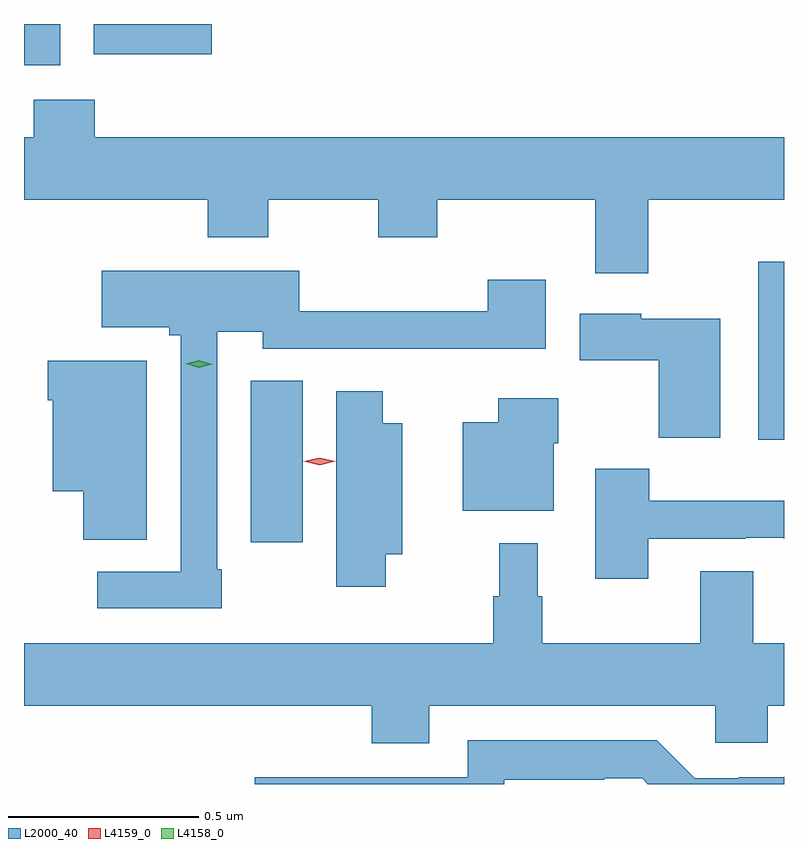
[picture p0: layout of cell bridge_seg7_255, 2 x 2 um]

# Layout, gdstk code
import gdstk
lib = gdstk.Library(unit=1e-6, precision=1e-09)
def R(c, l, rs):  # rectangles x0, y0, x1, y1
    for r in rs: c.add(gdstk.rectangle(r[:2], r[2:], *l))
def P(c, l, *ps):  # polygons
    for p in ps: c.add(gdstk.Polygon(p, *l))
L2000_40 = (2000, 40)
L4158_0 = (4158, 0)
L4159_0 = (4159, 0)

bridge_seg7_255 = lib.new_cell('bridge_seg7_255')
R(bridge_seg7_255, L2000_40, [(213.755,1079.634,213.892,1080.059), (215.09,1079.904,215.158,1080.373), (213.158,1080.89,213.253,1080.998), (213.342,1080.919,213.652,1080.998)])
P(bridge_seg7_255, L2000_40, [(213.641,1080.437),(213.801,1080.437),(213.801,1080.536),(214.09,1080.536),(214.09,1080.437),(214.245,1080.437),(214.245,1080.536),(214.661,1080.536),(214.661,1080.342),(214.801,1080.342),(214.801,1080.536),(215.158,1080.536),(215.158,1080.7),(213.344,1080.7),(213.344,1080.799),(213.184,1080.799),(213.184,1080.7),(213.158,1080.7),(213.158,1080.536),(213.641,1080.536)],
  [(213.679,1079.563),(213.666,1079.563),(213.666,1080.188),(213.786,1080.188),(213.786,1080.144),(214.295,1080.144),(214.295,1080.143),(214.531,1080.143),(214.531,1080.325),(214.379,1080.325),(214.379,1080.242),(213.882,1080.242),(213.882,1080.349),(213.363,1080.349),(213.363,1080.2),(213.54,1080.2),(213.54,1080.179),(213.57,1080.179),(213.57,1079.556),(213.351,1079.556),(213.351,1079.46),(213.679,1079.46)],
  [(214.99,1080.223),(214.782,1080.223),(214.782,1080.235),(214.62,1080.235),(214.62,1080.113),(214.828,1080.113),(214.828,1079.909),(214.99,1079.909)],
  [(213.481,1080.112),(213.221,1080.112),(213.221,1080.008),(213.233,1080.008),(213.233,1079.768),(213.314,1079.768),(213.314,1079.641),(213.481,1079.641)],
  [(214.11,1079.603),(214.153,1079.603),(214.153,1079.947),(214.102,1079.947),(214.102,1080.031),(213.98,1080.031),(213.98,1079.517),(214.11,1079.517)],
  [(214.552,1079.895),(214.564,1079.895),(214.564,1080.013),(214.406,1080.013),(214.406,1079.95),(214.313,1079.95),(214.313,1079.717),(214.552,1079.717)],
  [(214.801,1079.643),(215.057,1079.643),(215.057,1079.646),(215.156,1079.646),(215.158,1079.644),(215.158,1079.743),(214.804,1079.743),(214.804,1079.827),(214.661,1079.827),(214.661,1079.538),(214.801,1079.538)],
  [(214.408,1079.632),(214.408,1079.492),(214.393,1079.492),(214.393,1079.368),(213.158,1079.368),(213.158,1079.204),(214.073,1079.204),(214.073,1079.105),(214.225,1079.105),(214.225,1079.204),(214.977,1079.204),(214.977,1079.106),(215.115,1079.106),(215.115,1079.204),(215.158,1079.204),(215.158,1079.368),(215.077,1079.368),(215.077,1079.558),(214.937,1079.558),(214.937,1079.368),(214.522,1079.368),(214.522,1079.492),(214.51,1079.492),(214.51,1079.632)],
  [(214.422,1079.009),(214.685,1079.009),(214.685,1079.013),(214.785,1079.013),(214.8,1078.998),(215.158,1078.998),(215.158,1079.017),(215.157,1079.016),(215.039,1079.016),(215.039,1079.013),(214.923,1079.013),(214.823,1079.113),(214.326,1079.113),(214.326,1079.016),(213.765,1079.016),(213.765,1078.998),(214.422,1078.998)])
P(bridge_seg7_255, L4158_0, [(213.618,1080.093),(213.583,1080.104),(213.583,1080.104),(213.583,1080.104),(213.618,1080.113),(213.653,1080.103),(213.653,1080.103),(213.653,1080.103)])
P(bridge_seg7_255, L4159_0, [(213.936,1079.837),(213.894,1079.847),(213.894,1079.847),(213.894,1079.848),(213.936,1079.857),(213.977,1079.848),(213.977,1079.847),(213.977,1079.847)])

lib.write_gds('bridge_seg7_255.gds')
